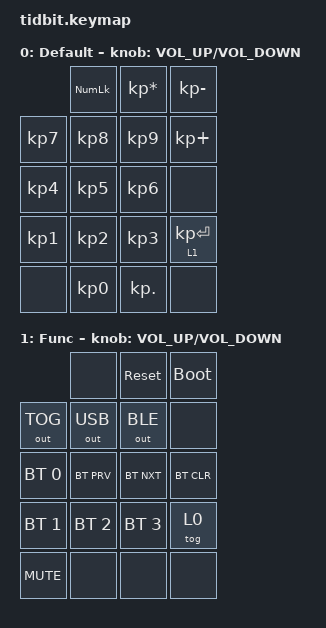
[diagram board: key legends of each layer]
/*
 * Copyright (c) 2020 The ZMK Contributors
 *
 * SPDX-License-Identifier: MIT
 */

#include <behaviors.dtsi>
#include <dt-bindings/zmk/bt.h>
#include <dt-bindings/zmk/outputs.h>
#include <dt-bindings/zmk/keys.h>

&encoder_1_top_row {
    status = "okay";
};

/ {
    sensors {
        compatible = "zmk,keymap-sensors";
        sensors = <&encoder_1_top_row>;
        triggers-per-rotation = <20>;
    };

    keymap {
        compatible = "zmk,keymap";

        default_layer {
            display-name = "Default";
            bindings = <
                                &kp KP_NUMLOCK  &kp KP_ASTERISK &kp KP_MINUS
                &kp KP_NUMBER_7 &kp KP_NUMBER_8 &kp KP_NUMBER_9 &kp KP_PLUS
                &kp KP_NUMBER_4 &kp KP_NUMBER_5 &kp KP_NUMBER_6 &none
                &kp KP_NUMBER_1 &kp KP_NUMBER_2 &kp KP_NUMBER_3 &lt 1 KP_ENTER
                &none           &kp KP_NUMBER_0 &kp KP_DOT      &none
            >;

            sensor-bindings = <&inc_dec_kp C_VOLUME_UP C_VOLUME_DOWN>;
        };

         func_layer {
            display-name = "Func";
             bindings = <
                                &none           &sys_reset          &bootloader
                &out OUT_TOG    &out OUT_USB    &out OUT_BLE    &none
                &bt BT_SEL 0    &bt BT_PRV      &bt BT_NXT      &bt BT_CLR
                &bt BT_SEL 1    &bt BT_SEL 2    &bt BT_SEL 3    &tog 0
                &kp C_MUTE      &none           &none           &none
             >;

             sensor-bindings = <&inc_dec_kp C_VOLUME_UP C_VOLUME_DOWN>;
         };
    };
};
